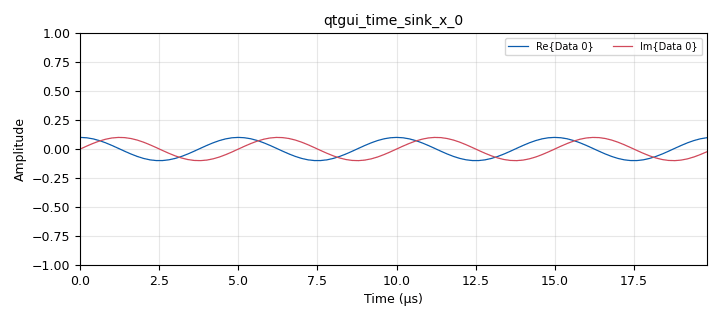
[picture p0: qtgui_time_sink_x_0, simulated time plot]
options:
  parameters:
    author: Maxim Penner
    generate_options: qt_gui
    id: usrp_calibration_power_tx
    output_language: python
    title: usrp_calibration_power_tx
  states: {}

blocks:
- name: freq
  id: variable_qtgui_range
  parameters:
    start: 0.5e9
    step: 100e6
    stop: 6.0e9
    value: 0.5e9
  states: {}
- name: gain_tx
  id: variable_qtgui_range
  parameters:
    start: '0'
    step: '1'
    stop: '100'
    value: '0'
  states: {}
- name: gain_tx_digital_domain
  id: variable_qtgui_range
  parameters:
    start: '0'
    step: '0.1'
    stop: '10.0'
    value: '0.1'
  states: {}
- name: samp_rate
  id: variable
  parameters:
    value: 5e6
  states: {}
- name: analog_const_source_x_0
  id: analog_const_source_x
  parameters:
    const: gain_tx_digital_domain
    type: complex
  states: {}
- name: analog_sig_source_x_0
  id: analog_sig_source_x
  parameters:
    amp: '1'
    freq: 200e3
    offset: '0'
    phase: '0'
    samp_rate: samp_rate
    type: complex
    waveform: analog.GR_COS_WAVE
  states: {}
- name: blocks_multiply_xx_0
  id: blocks_multiply_xx
  parameters:
    type: complex
  states: {}
- name: note_0
  id: note
  parameters:
    comment: |-
      Upper USRP Sink: N-Series
      Lower USRP Sink: B-Series

      Measurement setup: Tektronix RSA6144A + Coax/Mini-Circuits + 20 dBAttenuator + DC-Blocker + Coax/Mini-Circuits + TX/RX0

      NOTE: Press "PRESET" if RSA6144A is showing low output power at high frequencies.

      NOTE: For B-series, run"export UHD_IMAGES_DIR=/usr/local/share/uhd/images."

      --------------------------------------------------------------------------
      N310 14323100-2019-009

      Table from data sheet is accurate. Even the compression at low frequencies is correctly depicted in the data sheet.

      --------------------------------------------------------------------------
      N321

      ToDo

      --------------------------------------------------------------------------
      B210 31EAC37

      Table from data sheet is accurate.
  states: {}
- name: qtgui_time_sink_x_0
  id: qtgui_time_sink_x
  parameters:
    size: '100'
    srate: samp_rate
    type: complex
  states: {}
- name: uhd_usrp_sink_1
  id: uhd_usrp_sink
  parameters:
    ant0: '"TX/RX"'
    center_freq0: freq
    dev_addr: '"addr=192.168.30.2"'
    gain0: gain_tx
    samp_rate: samp_rate
    sync: sync
    type: fc32
  states: {}
- name: uhd_usrp_sink_1_0
  id: uhd_usrp_sink
  parameters:
    ant0: '"TX/RX"'
    center_freq0: freq
    dev_addr: '"serial=31EAC37"'
    dev_args: '"type=b200,master_clock_rate=30.72e6"'
    gain0: gain_tx
    samp_rate: samp_rate
    sync: sync
    type: fc32
  states: {state: disabled}

connections:
- [analog_const_source_x_0, '0', blocks_multiply_xx_0, '1']
- [analog_sig_source_x_0, '0', blocks_multiply_xx_0, '0']
- [blocks_multiply_xx_0, '0', qtgui_time_sink_x_0, '0']
- [blocks_multiply_xx_0, '0', uhd_usrp_sink_1, '0']
- [blocks_multiply_xx_0, '0', uhd_usrp_sink_1_0, '0']

metadata:
  file_format: 1
  grc_version: 3.10.9.2
